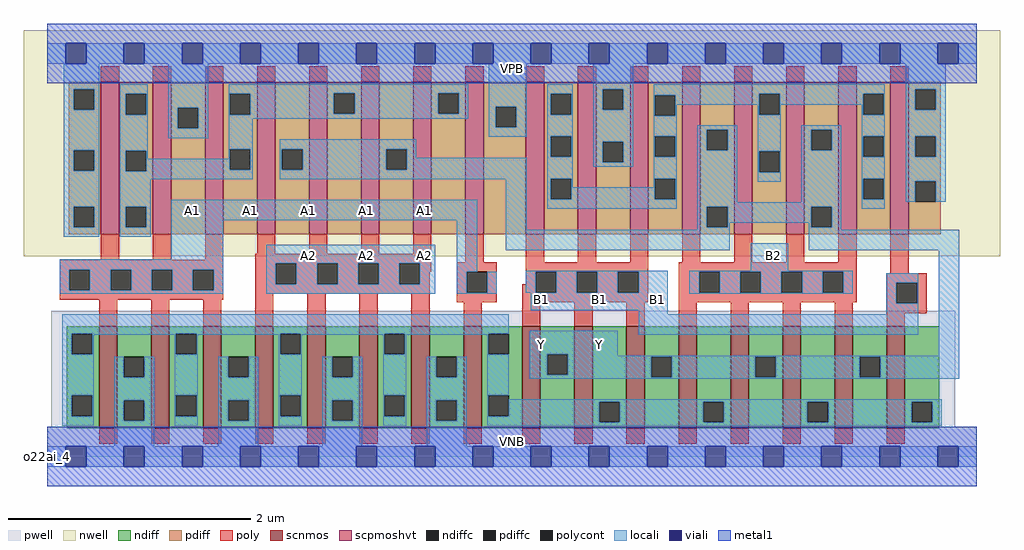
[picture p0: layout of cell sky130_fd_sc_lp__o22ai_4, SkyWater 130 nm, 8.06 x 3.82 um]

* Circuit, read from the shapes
.subckt sky130_fd_sc_lp__o22ai_4 A1 A2 B1 B2 VGND VNB VPB VPWR Y
XM1 VGND A1 n1 VNB sky130_fd_pr__nfet_01v8 w=0.84 l=0.15 m=4
XM2 n1 A2 VGND VNB sky130_fd_pr__nfet_01v8 w=0.84 l=0.15 m=4
XM3 Y B1 n1 VNB sky130_fd_pr__nfet_01v8 w=0.84 l=0.15 m=4
XM4 n1 B2 Y VNB sky130_fd_pr__nfet_01v8 w=0.84 l=0.15 m=4
XM5 n2 A1 VPWR VPB sky130_fd_pr__pfet_01v8_hvt w=1.26 l=0.15 m=4
XM6 Y A2 n2 VPB sky130_fd_pr__pfet_01v8_hvt w=1.26 l=0.15 m=4
XM7 n3 B1 VPWR VPB sky130_fd_pr__pfet_01v8_hvt w=1.26 l=0.15 m=4
XM8 Y B2 n3 VPB sky130_fd_pr__pfet_01v8_hvt w=1.26 l=0.15 m=4
.ends

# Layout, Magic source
magic
tech sky130A
magscale 1 2
<< nwell >>
rect -38 331 1574 704
<< pwell >>
rect 7 49 1500 241
rect 0 0 1536 49
<< scnmos >>
rect 86 47 116 215
rect 172 47 202 215
rect 258 47 288 215
rect 344 47 374 215
rect 430 47 460 215
rect 516 47 546 215
rect 602 47 632 215
rect 688 47 718 215
rect 785 47 815 215
rect 871 47 901 215
rect 957 47 987 215
rect 1043 47 1073 215
rect 1129 47 1159 215
rect 1215 47 1245 215
rect 1301 47 1331 215
rect 1387 47 1417 215
<< scpmoshvt >>
rect 89 367 119 619
rect 175 367 205 619
rect 261 367 291 619
rect 347 367 377 619
rect 433 367 463 619
rect 519 367 549 619
rect 605 367 635 619
rect 691 367 721 619
rect 791 367 821 619
rect 877 367 907 619
rect 963 367 993 619
rect 1049 367 1079 619
rect 1135 367 1165 619
rect 1221 367 1251 619
rect 1307 367 1337 619
rect 1393 367 1423 619
<< ndiff >>
rect 33 203 86 215
rect 33 169 41 203
rect 75 169 86 203
rect 33 101 86 169
rect 33 67 41 101
rect 75 67 86 101
rect 33 47 86 67
rect 116 165 172 215
rect 116 131 127 165
rect 161 131 172 165
rect 116 93 172 131
rect 116 59 127 93
rect 161 59 172 93
rect 116 47 172 59
rect 202 203 258 215
rect 202 169 213 203
rect 247 169 258 203
rect 202 101 258 169
rect 202 67 213 101
rect 247 67 258 101
rect 202 47 258 67
rect 288 165 344 215
rect 288 131 299 165
rect 333 131 344 165
rect 288 93 344 131
rect 288 59 299 93
rect 333 59 344 93
rect 288 47 344 59
rect 374 203 430 215
rect 374 169 385 203
rect 419 169 430 203
rect 374 101 430 169
rect 374 67 385 101
rect 419 67 430 101
rect 374 47 430 67
rect 460 165 516 215
rect 460 131 471 165
rect 505 131 516 165
rect 460 93 516 131
rect 460 59 471 93
rect 505 59 516 93
rect 460 47 516 59
rect 546 203 602 215
rect 546 169 557 203
rect 591 169 602 203
rect 546 101 602 169
rect 546 67 557 101
rect 591 67 602 101
rect 546 47 602 67
rect 632 165 688 215
rect 632 131 643 165
rect 677 131 688 165
rect 632 93 688 131
rect 632 59 643 93
rect 677 59 688 93
rect 632 47 688 59
rect 718 203 785 215
rect 718 169 729 203
rect 763 169 785 203
rect 718 101 785 169
rect 718 67 729 101
rect 763 67 785 101
rect 718 47 785 67
rect 815 169 871 215
rect 815 135 826 169
rect 860 135 871 169
rect 815 47 871 135
rect 901 91 957 215
rect 901 57 912 91
rect 946 57 957 91
rect 901 47 957 57
rect 987 165 1043 215
rect 987 131 998 165
rect 1032 131 1043 165
rect 987 47 1043 131
rect 1073 91 1129 215
rect 1073 57 1084 91
rect 1118 57 1129 91
rect 1073 47 1129 57
rect 1159 165 1215 215
rect 1159 131 1170 165
rect 1204 131 1215 165
rect 1159 47 1215 131
rect 1245 91 1301 215
rect 1245 57 1256 91
rect 1290 57 1301 91
rect 1245 47 1301 57
rect 1331 165 1387 215
rect 1331 131 1342 165
rect 1376 131 1387 165
rect 1331 47 1387 131
rect 1417 91 1474 215
rect 1417 57 1428 91
rect 1462 57 1474 91
rect 1417 47 1474 57
<< pdiff >>
rect 36 607 89 619
rect 36 573 44 607
rect 78 573 89 607
rect 36 506 89 573
rect 36 472 44 506
rect 78 472 89 506
rect 36 413 89 472
rect 36 379 44 413
rect 78 379 89 413
rect 36 367 89 379
rect 119 599 175 619
rect 119 565 130 599
rect 164 565 175 599
rect 119 505 175 565
rect 119 471 130 505
rect 164 471 175 505
rect 119 413 175 471
rect 119 379 130 413
rect 164 379 175 413
rect 119 367 175 379
rect 205 576 261 619
rect 205 542 216 576
rect 250 542 261 576
rect 205 367 261 542
rect 291 599 347 619
rect 291 565 302 599
rect 336 565 347 599
rect 291 508 347 565
rect 291 474 302 508
rect 336 474 347 508
rect 291 367 347 474
rect 377 508 433 619
rect 377 474 388 508
rect 422 474 433 508
rect 377 367 433 474
rect 463 600 519 619
rect 463 566 474 600
rect 508 566 519 600
rect 463 367 519 566
rect 549 508 605 619
rect 549 474 560 508
rect 594 474 605 508
rect 549 367 605 474
rect 635 600 691 619
rect 635 566 646 600
rect 680 566 691 600
rect 635 367 691 566
rect 721 578 791 619
rect 721 544 741 578
rect 775 544 791 578
rect 721 367 791 544
rect 821 599 877 619
rect 821 565 832 599
rect 866 565 877 599
rect 821 529 877 565
rect 821 495 832 529
rect 866 495 877 529
rect 821 459 877 495
rect 821 425 832 459
rect 866 425 877 459
rect 821 367 877 425
rect 907 607 963 619
rect 907 573 918 607
rect 952 573 963 607
rect 907 520 963 573
rect 907 486 918 520
rect 952 486 963 520
rect 907 367 963 486
rect 993 597 1049 619
rect 993 563 1004 597
rect 1038 563 1049 597
rect 993 529 1049 563
rect 993 495 1004 529
rect 1038 495 1049 529
rect 993 459 1049 495
rect 993 425 1004 459
rect 1038 425 1049 459
rect 993 367 1049 425
rect 1079 540 1135 619
rect 1079 506 1090 540
rect 1124 506 1135 540
rect 1079 413 1135 506
rect 1079 379 1090 413
rect 1124 379 1135 413
rect 1079 367 1135 379
rect 1165 599 1221 619
rect 1165 565 1176 599
rect 1210 565 1221 599
rect 1165 504 1221 565
rect 1165 470 1176 504
rect 1210 470 1221 504
rect 1165 367 1221 470
rect 1251 540 1307 619
rect 1251 506 1262 540
rect 1296 506 1307 540
rect 1251 413 1307 506
rect 1251 379 1262 413
rect 1296 379 1307 413
rect 1251 367 1307 379
rect 1337 599 1393 619
rect 1337 565 1348 599
rect 1382 565 1393 599
rect 1337 529 1393 565
rect 1337 495 1348 529
rect 1382 495 1393 529
rect 1337 459 1393 495
rect 1337 425 1348 459
rect 1382 425 1393 459
rect 1337 367 1393 425
rect 1423 607 1476 619
rect 1423 573 1434 607
rect 1468 573 1476 607
rect 1423 529 1476 573
rect 1423 495 1434 529
rect 1468 495 1476 529
rect 1423 455 1476 495
rect 1423 421 1434 455
rect 1468 421 1476 455
rect 1423 367 1476 421
<< ndiffc >>
rect 41 169 75 203
rect 41 67 75 101
rect 127 131 161 165
rect 127 59 161 93
rect 213 169 247 203
rect 213 67 247 101
rect 299 131 333 165
rect 299 59 333 93
rect 385 169 419 203
rect 385 67 419 101
rect 471 131 505 165
rect 471 59 505 93
rect 557 169 591 203
rect 557 67 591 101
rect 643 131 677 165
rect 643 59 677 93
rect 729 169 763 203
rect 729 67 763 101
rect 826 135 860 169
rect 912 57 946 91
rect 998 131 1032 165
rect 1084 57 1118 91
rect 1170 131 1204 165
rect 1256 57 1290 91
rect 1342 131 1376 165
rect 1428 57 1462 91
<< pdiffc >>
rect 44 573 78 607
rect 44 472 78 506
rect 44 379 78 413
rect 130 565 164 599
rect 130 471 164 505
rect 130 379 164 413
rect 216 542 250 576
rect 302 565 336 599
rect 302 474 336 508
rect 388 474 422 508
rect 474 566 508 600
rect 560 474 594 508
rect 646 566 680 600
rect 741 544 775 578
rect 832 565 866 599
rect 832 495 866 529
rect 832 425 866 459
rect 918 573 952 607
rect 918 486 952 520
rect 1004 563 1038 597
rect 1004 495 1038 529
rect 1004 425 1038 459
rect 1090 506 1124 540
rect 1090 379 1124 413
rect 1176 565 1210 599
rect 1176 470 1210 504
rect 1262 506 1296 540
rect 1262 379 1296 413
rect 1348 565 1382 599
rect 1348 495 1382 529
rect 1348 425 1382 459
rect 1434 573 1468 607
rect 1434 495 1468 529
rect 1434 421 1468 455
<< poly >>
rect 89 619 119 645
rect 175 619 205 645
rect 261 619 291 645
rect 347 619 377 645
rect 433 619 463 645
rect 519 619 549 645
rect 605 619 635 645
rect 691 619 721 645
rect 791 619 821 645
rect 877 619 907 645
rect 963 619 993 645
rect 1049 619 1079 645
rect 1135 619 1165 645
rect 1221 619 1251 645
rect 1307 619 1337 645
rect 1393 619 1423 645
rect 89 325 119 367
rect 175 325 205 367
rect 261 325 291 367
rect 347 335 377 367
rect 433 335 463 367
rect 519 335 549 367
rect 605 335 635 367
rect 21 309 291 325
rect 21 275 37 309
rect 71 275 105 309
rect 139 275 173 309
rect 207 275 241 309
rect 275 275 291 309
rect 21 259 291 275
rect 344 319 635 335
rect 691 321 721 367
rect 791 321 821 367
rect 877 321 907 367
rect 963 321 993 367
rect 1049 321 1079 367
rect 1135 321 1165 367
rect 1221 321 1251 367
rect 1307 321 1337 367
rect 344 285 378 319
rect 412 285 446 319
rect 480 285 514 319
rect 548 285 582 319
rect 616 305 635 319
rect 677 305 743 321
rect 616 285 632 305
rect 344 269 632 285
rect 86 215 116 259
rect 172 215 202 259
rect 258 215 288 259
rect 344 215 374 269
rect 430 215 460 269
rect 516 215 546 269
rect 602 215 632 269
rect 677 271 693 305
rect 727 271 743 305
rect 791 305 993 321
rect 791 285 807 305
rect 677 255 743 271
rect 785 271 807 285
rect 841 271 875 305
rect 909 271 943 305
rect 977 271 993 305
rect 785 255 993 271
rect 1043 305 1337 321
rect 1043 271 1077 305
rect 1111 271 1145 305
rect 1179 271 1213 305
rect 1247 271 1281 305
rect 1315 271 1337 305
rect 1393 303 1423 367
rect 1043 255 1337 271
rect 1387 287 1453 303
rect 688 215 718 255
rect 785 215 815 255
rect 871 215 901 255
rect 957 215 987 255
rect 1043 215 1073 255
rect 1129 215 1159 255
rect 1215 215 1245 255
rect 1301 215 1331 255
rect 1387 253 1403 287
rect 1437 253 1453 287
rect 1387 237 1453 253
rect 1387 215 1417 237
rect 86 21 116 47
rect 172 21 202 47
rect 258 21 288 47
rect 344 21 374 47
rect 430 21 460 47
rect 516 21 546 47
rect 602 21 632 47
rect 688 21 718 47
rect 785 21 815 47
rect 871 21 901 47
rect 957 21 987 47
rect 1043 21 1073 47
rect 1129 21 1159 47
rect 1215 21 1245 47
rect 1301 21 1331 47
rect 1387 21 1417 47
<< polycont >>
rect 37 275 71 309
rect 105 275 139 309
rect 173 275 207 309
rect 241 275 275 309
rect 378 285 412 319
rect 446 285 480 319
rect 514 285 548 319
rect 582 285 616 319
rect 693 271 727 305
rect 807 271 841 305
rect 875 271 909 305
rect 943 271 977 305
rect 1077 271 1111 305
rect 1145 271 1179 305
rect 1213 271 1247 305
rect 1281 271 1315 305
rect 1403 253 1437 287
<< locali >>
rect 0 649 31 683
rect 65 649 127 683
rect 161 649 223 683
rect 257 649 319 683
rect 353 649 415 683
rect 449 649 511 683
rect 545 649 607 683
rect 641 649 703 683
rect 737 649 799 683
rect 833 649 895 683
rect 929 649 991 683
rect 1025 649 1087 683
rect 1121 649 1183 683
rect 1217 649 1279 683
rect 1313 649 1375 683
rect 1409 649 1471 683
rect 1505 649 1536 683
rect 28 607 86 649
rect 28 573 44 607
rect 78 573 86 607
rect 28 506 86 573
rect 28 472 44 506
rect 78 472 86 506
rect 28 413 86 472
rect 28 379 44 413
rect 78 379 86 413
rect 28 363 86 379
rect 120 599 166 615
rect 120 565 130 599
rect 164 565 166 599
rect 120 505 166 565
rect 200 576 266 649
rect 200 542 216 576
rect 250 542 266 576
rect 200 526 266 542
rect 300 600 696 615
rect 300 599 474 600
rect 300 565 302 599
rect 336 566 474 599
rect 508 566 646 600
rect 680 566 696 600
rect 336 565 696 566
rect 300 558 696 565
rect 730 578 792 649
rect 120 471 130 505
rect 164 492 166 505
rect 300 508 340 558
rect 730 544 741 578
rect 775 544 792 578
rect 730 528 792 544
rect 826 599 868 615
rect 826 565 832 599
rect 866 565 868 599
rect 826 529 868 565
rect 300 492 302 508
rect 164 474 302 492
rect 336 474 340 508
rect 164 471 340 474
rect 120 458 340 471
rect 384 508 610 524
rect 384 474 388 508
rect 422 474 560 508
rect 594 494 610 508
rect 826 495 832 529
rect 866 495 868 529
rect 594 474 792 494
rect 384 458 792 474
rect 120 413 171 458
rect 120 379 130 413
rect 164 379 171 413
rect 120 363 171 379
rect 205 390 711 424
rect 205 326 291 390
rect 21 309 291 326
rect 21 275 37 309
rect 71 275 105 309
rect 139 275 173 309
rect 207 275 241 309
rect 275 275 291 309
rect 21 269 291 275
rect 362 319 641 350
rect 362 285 378 319
rect 412 285 446 319
rect 480 285 514 319
rect 548 285 582 319
rect 616 285 641 319
rect 362 269 641 285
rect 677 305 711 390
rect 758 375 792 458
rect 826 459 868 495
rect 902 607 968 649
rect 902 573 918 607
rect 952 573 968 607
rect 902 520 968 573
rect 902 486 918 520
rect 952 486 968 520
rect 902 479 968 486
rect 1002 599 1384 615
rect 1002 597 1176 599
rect 1002 563 1004 597
rect 1038 581 1176 597
rect 1038 563 1040 581
rect 1002 529 1040 563
rect 1174 565 1176 581
rect 1210 581 1348 599
rect 1210 565 1212 581
rect 1002 495 1004 529
rect 1038 495 1040 529
rect 826 425 832 459
rect 866 445 868 459
rect 1002 459 1040 495
rect 1002 445 1004 459
rect 866 425 1004 445
rect 1038 425 1040 459
rect 826 409 1040 425
rect 1074 540 1140 547
rect 1074 506 1090 540
rect 1124 506 1140 540
rect 1074 420 1140 506
rect 1174 504 1212 565
rect 1346 565 1348 581
rect 1382 565 1384 599
rect 1174 470 1176 504
rect 1210 470 1212 504
rect 1174 454 1212 470
rect 1246 540 1312 547
rect 1246 506 1262 540
rect 1296 506 1312 540
rect 1246 420 1312 506
rect 1074 413 1312 420
rect 1074 379 1090 413
rect 1124 386 1262 413
rect 1124 379 1128 386
rect 1074 375 1128 379
rect 758 341 1128 375
rect 1258 379 1262 386
rect 1296 379 1312 413
rect 1346 529 1384 565
rect 1346 495 1348 529
rect 1382 495 1384 529
rect 1346 459 1384 495
rect 1346 425 1348 459
rect 1382 425 1384 459
rect 1346 409 1384 425
rect 1418 607 1484 649
rect 1418 573 1434 607
rect 1468 573 1484 607
rect 1418 529 1484 573
rect 1418 495 1434 529
rect 1468 495 1484 529
rect 1418 455 1484 495
rect 1418 421 1434 455
rect 1468 421 1484 455
rect 1258 375 1312 379
rect 1162 307 1224 352
rect 1258 341 1507 375
rect 791 305 1025 307
rect 677 271 693 305
rect 727 271 743 305
rect 791 271 807 305
rect 841 271 875 305
rect 909 271 943 305
rect 977 271 1025 305
rect 677 269 743 271
rect 799 242 1025 271
rect 1061 305 1331 307
rect 1061 271 1077 305
rect 1111 271 1145 305
rect 1179 271 1213 305
rect 1247 271 1281 305
rect 1315 271 1331 305
rect 1061 269 1331 271
rect 1386 287 1439 303
rect 977 235 1025 242
rect 1386 253 1403 287
rect 1437 253 1439 287
rect 1386 235 1439 253
rect 25 203 763 235
rect 25 169 41 203
rect 75 201 213 203
rect 75 169 77 201
rect 25 101 77 169
rect 211 169 213 201
rect 247 201 385 203
rect 247 169 249 201
rect 25 67 41 101
rect 75 67 77 101
rect 25 51 77 67
rect 111 131 127 165
rect 161 131 177 165
rect 111 93 177 131
rect 111 59 127 93
rect 161 59 177 93
rect 111 17 177 59
rect 211 101 249 169
rect 383 169 385 201
rect 419 201 557 203
rect 419 169 421 201
rect 211 67 213 101
rect 247 67 249 101
rect 211 51 249 67
rect 283 131 299 165
rect 333 131 349 165
rect 283 93 349 131
rect 283 59 299 93
rect 333 59 349 93
rect 283 17 349 59
rect 383 101 421 169
rect 555 169 557 201
rect 591 201 729 203
rect 591 169 593 201
rect 383 67 385 101
rect 419 67 421 101
rect 383 51 421 67
rect 455 131 471 165
rect 505 131 521 165
rect 455 93 521 131
rect 455 59 471 93
rect 505 59 521 93
rect 455 17 521 59
rect 555 101 593 169
rect 727 169 729 201
rect 555 67 557 101
rect 591 67 593 101
rect 555 51 593 67
rect 627 131 643 165
rect 677 131 693 165
rect 627 93 693 131
rect 627 59 643 93
rect 677 59 693 93
rect 627 17 693 59
rect 727 101 763 169
rect 797 169 943 208
rect 977 201 1439 235
rect 797 135 826 169
rect 860 167 943 169
rect 1473 167 1507 341
rect 860 165 1507 167
rect 860 135 998 165
rect 797 131 998 135
rect 1032 131 1170 165
rect 1204 131 1342 165
rect 1376 131 1507 165
rect 797 129 1507 131
rect 727 67 729 101
rect 763 91 1478 95
rect 763 67 912 91
rect 727 57 912 67
rect 946 57 1084 91
rect 1118 57 1256 91
rect 1290 57 1428 91
rect 1462 57 1478 91
rect 727 51 1478 57
rect 0 -17 31 17
rect 65 -17 127 17
rect 161 -17 223 17
rect 257 -17 319 17
rect 353 -17 415 17
rect 449 -17 511 17
rect 545 -17 607 17
rect 641 -17 703 17
rect 737 -17 799 17
rect 833 -17 895 17
rect 929 -17 991 17
rect 1025 -17 1087 17
rect 1121 -17 1183 17
rect 1217 -17 1279 17
rect 1313 -17 1375 17
rect 1409 -17 1471 17
rect 1505 -17 1536 17
<< viali >>
rect 31 649 65 683
rect 127 649 161 683
rect 223 649 257 683
rect 319 649 353 683
rect 415 649 449 683
rect 511 649 545 683
rect 607 649 641 683
rect 703 649 737 683
rect 799 649 833 683
rect 895 649 929 683
rect 991 649 1025 683
rect 1087 649 1121 683
rect 1183 649 1217 683
rect 1279 649 1313 683
rect 1375 649 1409 683
rect 1471 649 1505 683
rect 31 -17 65 17
rect 127 -17 161 17
rect 223 -17 257 17
rect 319 -17 353 17
rect 415 -17 449 17
rect 511 -17 545 17
rect 607 -17 641 17
rect 703 -17 737 17
rect 799 -17 833 17
rect 895 -17 929 17
rect 991 -17 1025 17
rect 1087 -17 1121 17
rect 1183 -17 1217 17
rect 1279 -17 1313 17
rect 1375 -17 1409 17
rect 1471 -17 1505 17
<< metal1 >>
rect 0 683 1536 715
rect 0 649 31 683
rect 65 649 127 683
rect 161 649 223 683
rect 257 649 319 683
rect 353 649 415 683
rect 449 649 511 683
rect 545 649 607 683
rect 641 649 703 683
rect 737 649 799 683
rect 833 649 895 683
rect 929 649 991 683
rect 1025 649 1087 683
rect 1121 649 1183 683
rect 1217 649 1279 683
rect 1313 649 1375 683
rect 1409 649 1471 683
rect 1505 649 1536 683
rect 0 617 1536 649
rect 0 17 1536 49
rect 0 -17 31 17
rect 65 -17 127 17
rect 161 -17 223 17
rect 257 -17 319 17
rect 353 -17 415 17
rect 449 -17 511 17
rect 545 -17 607 17
rect 641 -17 703 17
rect 737 -17 799 17
rect 833 -17 895 17
rect 929 -17 991 17
rect 1025 -17 1087 17
rect 1121 -17 1183 17
rect 1217 -17 1279 17
rect 1313 -17 1375 17
rect 1409 -17 1471 17
rect 1505 -17 1536 17
rect 0 -49 1536 -17
<< labels >>
flabel pwell s 0 0 1536 49 0 FreeSans 200 0 0 0 VNB
port 6 nsew ground bidirectional
flabel nwell s 0 617 1536 666 0 FreeSans 200 0 0 0 VPB
port 7 nsew power bidirectional
rlabel comment s 0 0 0 0 4 o22ai_4
flabel metal1 s 0 617 1536 666 0 FreeSans 340 0 0 0 VPWR
port 8 nsew power bidirectional
flabel metal1 s 0 0 1536 49 0 FreeSans 340 0 0 0 VGND
port 5 nsew ground bidirectional
flabel locali s 223 390 257 424 0 FreeSans 340 0 0 0 A1
port 1 nsew signal input
flabel locali s 319 390 353 424 0 FreeSans 340 0 0 0 A1
port 1 nsew signal input
flabel locali s 415 390 449 424 0 FreeSans 340 0 0 0 A1
port 1 nsew signal input
flabel locali s 511 390 545 424 0 FreeSans 340 0 0 0 A1
port 1 nsew signal input
flabel locali s 607 390 641 424 0 FreeSans 340 0 0 0 A1
port 1 nsew signal input
flabel locali s 415 316 449 350 0 FreeSans 340 0 0 0 A2
port 2 nsew signal input
flabel locali s 511 316 545 350 0 FreeSans 340 0 0 0 A2
port 2 nsew signal input
flabel locali s 607 316 641 350 0 FreeSans 340 0 0 0 A2
port 2 nsew signal input
flabel locali s 799 168 833 202 0 FreeSans 340 0 0 0 Y
port 9 nsew signal output
flabel locali s 895 168 929 202 0 FreeSans 340 0 0 0 Y
port 9 nsew signal output
flabel locali s 1183 316 1217 350 0 FreeSans 340 0 0 0 B2
port 4 nsew signal input
flabel locali s 799 242 833 276 0 FreeSans 340 0 0 0 B1
port 3 nsew signal input
flabel locali s 895 242 929 276 0 FreeSans 340 0 0 0 B1
port 3 nsew signal input
flabel locali s 991 242 1025 276 0 FreeSans 340 0 0 0 B1
port 3 nsew signal input
<< properties >>
string LEFsite unit
string LEFclass CORE
string FIXED_BBOX 0 0 1536 666
string GDS_FILE $PDKPATH/libs.ref/sky130_fd_sc_lp/gds/sky130_fd_sc_lp.gds
string LEFsymmetry X Y R90
string GDS_END 1205024
string GDS_START 1192062
<< end >>
